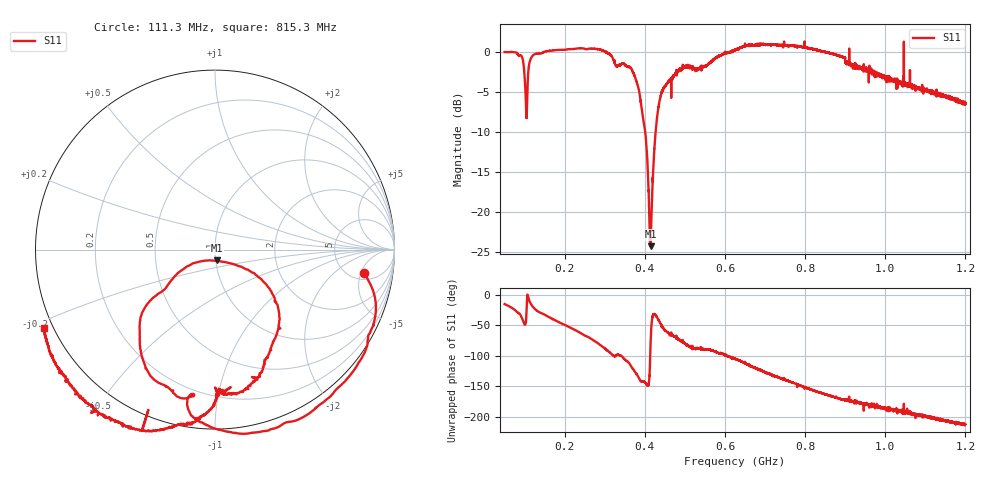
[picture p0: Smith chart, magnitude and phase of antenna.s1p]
! Calibrated high-resolution NanoVNA antenna measurement
# Hz S RI R 50
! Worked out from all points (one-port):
!   40001 points, 50 MHz to 1.2 GHz, reference 50 ohm
!   lowest |S11| = -24.3 dB at 414.3 MHz (marker M1), VSWR 1.13, Z = 50.7 - j6.1 ohm
!   |S11| at or under -10 dB: 400.9 MHz to 426.9 MHz (26.05 MHz wide, 6.29 % of centre)
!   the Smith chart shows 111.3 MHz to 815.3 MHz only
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5e7  0.9652 -0.2556
8.659875e7  0.8215 -0.4811
9.6115e7  0.6423 -0.5948
1.017212e8  0.3953 -0.4402
1.095125e8  0.7724 -0.0615
1.135662e8  0.8634 -0.1879
1.192875e8  0.8956 -0.2992
1.9375e8  0.6984 -0.7582
2.843125e8  0.1819 -1.024
3.194738e8  -0.1406 -0.9094
3.375e8  -0.1323 -0.8198
3.630012e8  -0.3284 -0.7329
3.84535e8  -0.4196 -0.4108
4.012388e8  -0.2503 -0.1808
4.106112e8  -0.081 -0.066
4.143488e8  0.0105 -0.06
4.266825e8  0.2609 -0.1677
4.365438e8  0.355 -0.3399
4.8125e8  0.2374 -0.7134
5.199762e8  0.0427 -0.7977
5.655162e8  -0.00686 -0.8721
6.25e8  -0.2651 -0.9989
6.866112e8  -0.6178 -0.9437
7.6875e8  -0.8859 -0.6444
8.54655e8  -0.9523 -0.2722
9.125e8  -0.8342 -0.0852
1.05625e9  -0.6035 0.1443
1.2e9  -0.397 0.2508
